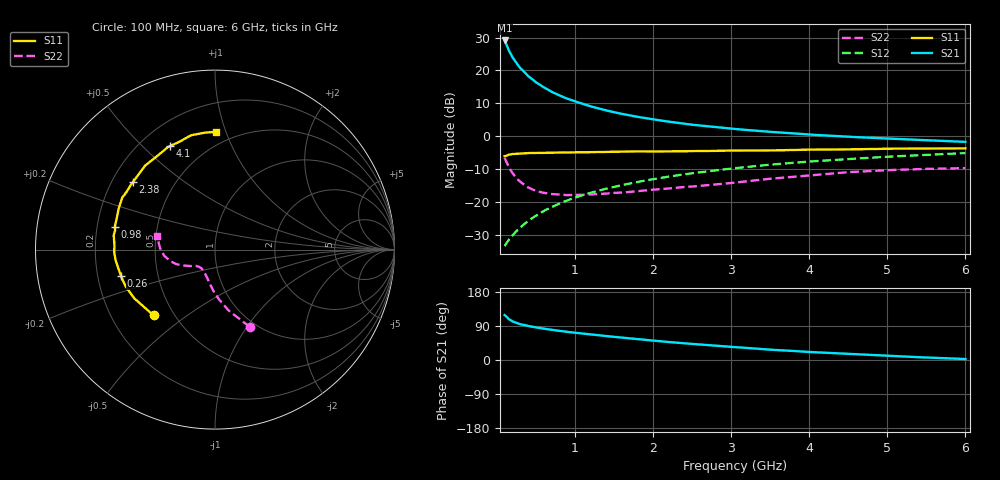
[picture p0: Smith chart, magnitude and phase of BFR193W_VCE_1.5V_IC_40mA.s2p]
! Infineon Technologies  Discrete & RF Semiconductors
! BFR193W
! VCE =  1.5 V,  IC =  40 mA
! Common Emitter S-Parameters:  Nov 2015
# GHz  S  MA  R  50
!  f  S11  S21  S12  S22
! GHz  MAG  ANG  MAG  ANG  MAG  ANG  MAG  ANG
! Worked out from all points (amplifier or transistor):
!   192 points, 100 MHz to 6 GHz, reference 50 ohm
!   highest |S21| = 29.1 dB at 100 MHz (marker M1)
!   |S21| within 3 dB of that: start of sweep to 153.5 MHz
!   unconditionally stable (mu >= 1): 483.8 MHz to 2.62 GHz
!   at 440 MHz: K = 0.98, MSG = 21.3 dB, |S12| = -25.0 dB
!   at 1.7 GHz: K = 1.03, MAG = 9.3 dB, |S12| = -14.3 dB
!   at 6 GHz: K = 0.94, MSG = 1.7 dB, |S12| = -5.1 dB
!   S11 on the Smith chart (normalised r, x): 100 MHz: 0.39, -0.38; 260 MHz: 0.30, -0.13; 980 MHz: 0.28, +0.10; 2.38 GHz: 0.29, +0.33; 4.1 GHz: 0.32, +0.61; 6 GHz: 0.40, +0.93
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0.1  0.5014 -133.1  28.56 118.4  0.0215 57.5  0.4728 -65.7
0.15  0.5256 -148.9  20.55 108.3  0.0265 59.0  0.3469 -77.5
0.2  0.5384 -157.6  15.91 102.0  0.0312 61.0  0.2774 -85.5
0.24  0.5417 -162.1  13.51 98.9  0.0353 63.0  0.2407 -90.6
0.26  0.5436 -164.1  12.51 97.3  0.0373 63.8  0.2262 -92.9
0.3  0.547 -167.6  10.89 94.5  0.0412 65.3  0.204 -96.5
0.4  0.5572 -174.0  8.242 89.7  0.0517 68.0  0.1677 -104.5
0.5  0.5616 -178.4  6.639 86.0  0.0624 69.8  0.1484 -110.6
0.6  0.5605 177.8  5.558 82.7  0.0734 70.5  0.1389 -116.2
0.7  0.5646 174.8  4.763 79.7  0.084 71.1  0.133 -119.8
0.8  0.57 171.8  4.195 76.9  0.0951 71.1  0.1311 -123.3
0.98  0.5715 167.4  3.459 72.4  0.1148 70.9  0.1286 -127.8
1.1  0.5732 164.5  3.12 69.8  0.1279 70.4  0.1296 -130.8
1.2  0.5747 162.1  2.854 67.5  0.1388 70.0  0.1308 -133.4
1.5  0.5841 156.5  2.324 61.0  0.1705 68.2  0.1386 -138.2
1.8  0.5924 150.8  1.979 55.0  0.2026 66.2  0.1471 -142.3
2.08  0.589 145.3  1.752 49.7  0.2319 63.9  0.1575 -144.7
2.38  0.5926 140.3  1.568 44.5  0.2629 61.5  0.1698 -147.2
3.1  0.6085 128.4  1.278 33.3  0.3331 54.9  0.2015 -154.2
4.1  0.6289 113.3  1.048 20.2  0.4214 45.6  0.2605 -166.8
5.1  0.6507 100.5  0.915 10.1  0.497 36.6  0.3089 177.0
6  0.6566 89.3  0.824 2.6  0.5564 28.5  0.3293 166.7
